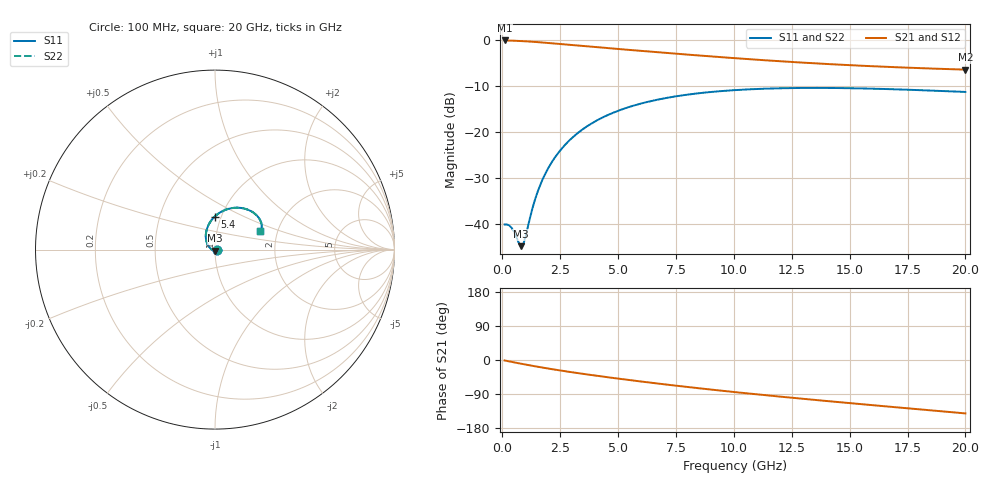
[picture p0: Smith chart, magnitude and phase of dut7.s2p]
! Touchstone file exported from HFSS 2024.1.0
!  File:  C:/UserFiles/LocalFiles/RDL_TSV_Batchsim/temp_RDL_TSV_7_1779396574.aedt
!  Generated:  05:05:39 AM May 22, 2026
!  Design:  RDL_TSV
!  Project:  temp_RDL_TSV_7_1779396574
!  Setup:  Setup1
!  Solution:  Sweep
! Variables:
!  dtsv = 9.18um
!  hbump = 3um
!  htsv = 60.91um
!  ldown = 226.66um
!  lrdl = 333.37um
!  p = 40
!  p1 = 45.67um
!  rhole = 10um
!  subl = 2013.46um
!  t = 450um
!  tdown = 3.65um
!  trdl = 3.13um
!  viad = 10um
!  wdown = 23.04um
!  wrdl = 25.31um
!  xbump = 18um
# GHz S MA R 50.000000
! Terminal data exported
! Port[1] = TM1_1_T1
! Port[2] = TM1_4_T1
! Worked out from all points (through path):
!   200 points, 100 MHz to 20 GHz, reference 50 ohm
!   highest |S21| = -0.09 dB at 100 MHz (marker M1); lowest = -6.4 dB at 20 GHz (marker M2)
!   group delay of S21, straight-line fit = 18.6 ps
!   lowest |S11| = -44.9 dB at 800 MHz (marker M3), VSWR 1.01, Z = 50.1 - j0.568 ohm
!   |S11| at or under -10 dB: start of sweep to end of sweep
!   |S22| runs from -44.9 to -10.4 dB; largest |S21 - S12| = 1.3e-14
!   S11 on the Smith chart (normalised r, x): 100 MHz: 1.02, -0.00; 5.4 GHz: 0.93, +0.36; 20 GHz: 1.62, +0.37
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0.1  0.009839 -2.9  0.9898 -1.3  0.9898 -1.3  0.009839 -2.9
! Gamma 0 0 0 0
! Port Impedance 50 0 50 0
0.3  0.009606 -13.5  0.9871 -3.7  0.9871 -3.7  0.009607 -13.5
0.4  0.009056 -21.3  0.9853 -5.0  0.9853 -5.0  0.009057 -21.3
0.8  0.00571 -83.9  0.9757 -9.7  0.9757 -9.7  0.005713 -83.8
0.9  0.005931 -110.9  0.9726 -10.9  0.9726 -10.9  0.005931 -110.9
1  0.007145 -135.0  0.9694 -12.0  0.9694 -12.0  0.007142 -134.9
1.3  0.01467 -174.5  0.9584 -15.4  0.9584 -15.4  0.01465 -174.5
1.5  0.02135 172.3  0.9502 -17.5  0.9502 -17.5  0.02133 172.3
1.7  0.02881 162.8  0.9417 -19.7  0.9417 -19.7  0.02878 162.8
1.9  0.03681 155.2  0.9328 -21.7  0.9328 -21.7  0.03678 155.2
2.2  0.04956 145.8  0.9191 -24.7  0.9191 -24.7  0.04952 145.8
2.6  0.06737 135.5  0.9008 -28.6  0.9008 -28.6  0.06731 135.5
3  0.08553 126.8  0.8827 -32.2  0.8827 -32.2  0.08545 126.8
3.5  0.108 117.3  0.8608 -36.7  0.8608 -36.7  0.1079 117.3
4.4  0.1464 103.2  0.8233 -44.2  0.8233 -44.2  0.1463 103.2
5.4  0.1842 90.5  0.7844 -52.2  0.7844 -52.2  0.184 90.5
6.8  0.227 76.1  0.734 -62.8  0.734 -62.8  0.2268 76.0
8.3  0.2604 63.7  0.6849 -73.3  0.6849 -73.3  0.2602 63.7
10.1  0.2857 52.0  0.6334 -85.1  0.6334 -85.1  0.2854 51.9
13.4  0.3014 36.5  0.5598 -104.8  0.5598 -104.8  0.3011 36.5
16.7  0.2923 27.0  0.5096 -123.1  0.5096 -123.1  0.2921 27.0
20  0.2724 22.7  0.4765 -140.9  0.4765 -140.9  0.2721 22.7
